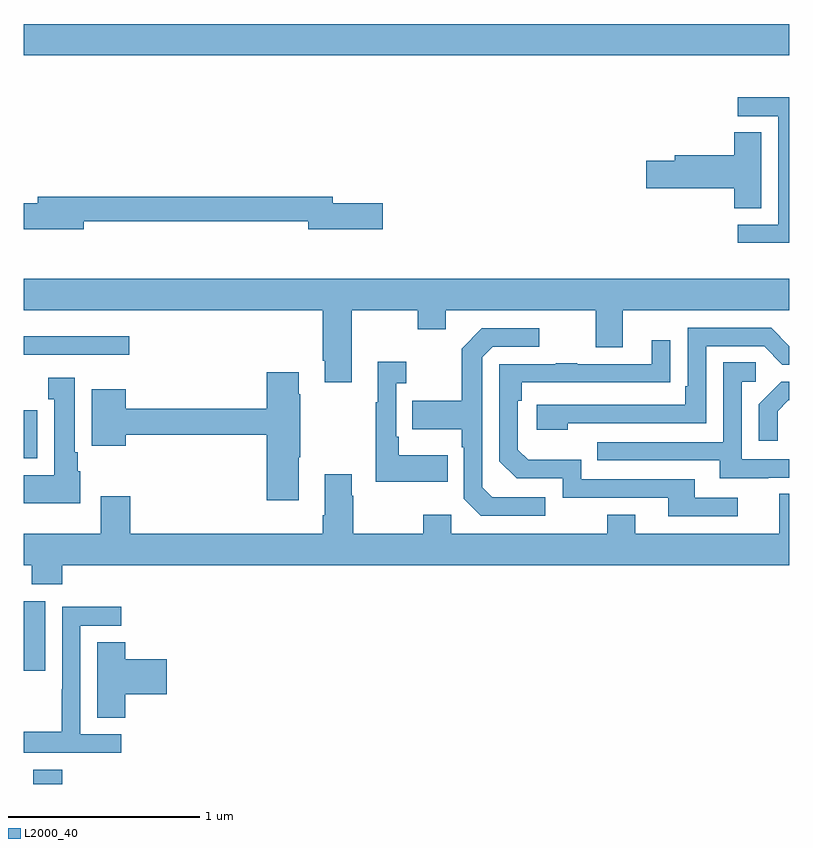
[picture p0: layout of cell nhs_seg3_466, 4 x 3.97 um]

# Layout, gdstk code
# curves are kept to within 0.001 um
import gdstk
lib = gdstk.Library(unit=1e-6, precision=1e-09)
def R(c, l, rs):  # rectangles x0, y0, x1, y1
    for r in rs: c.add(gdstk.rectangle(r[:2], r[2:], *l))
def P(c, l, *ps):  # polygons
    for p in ps: c.add(gdstk.Polygon(p, *l))
L2000_40 = (2000, 40)

nhs_seg3_466 = lib.new_cell('nhs_seg3_466')
R(nhs_seg3_466, L2000_40, [(133.049,738.4,133.202,738.475), (133,738.993,133.111,739.354), (133,740.102,133.071,740.353), (133,740.643,133.552,740.74), (133,742.208,137,742.372)])
P(nhs_seg3_466, L2000_40, [(137,741.99),(136.731,741.99),(136.731,741.891),(136.944,741.891),(136.944,741.324),(136.731,741.324),(136.731,741.228),(137,741.228)],
  [(136.855,741.806),(136.712,741.806),(136.712,741.686),(136.403,741.686),(136.403,741.656),(136.254,741.656),(136.254,741.514),(136.712,741.514),(136.712,741.409),(136.855,741.409)],
  [(133.312,741.342),(134.486,741.342),(134.486,741.299),(134.875,741.299),(134.875,741.434),(134.614,741.434),(134.614,741.47),(133.073,741.47),(133.073,741.434),(133,741.434),(133,741.299),(133.312,741.299)],
  [(134.713,740.876),(135.058,740.876),(135.058,740.777),(135.205,740.777),(135.205,740.876),(135.989,740.876),(135.989,740.682),(136.129,740.682),(136.129,740.876),(137,740.876),(137,741.04),(133,741.04),(133,740.876),(134.561,740.876),(134.561,740.611),(134.573,740.611),(134.573,740.499),(134.713,740.499)],
  [(135.842,740.286),(136.566,740.286),(136.566,740.688),(136.869,740.688),(136.965,740.592),(137,740.592),(137,740.689),(136.905,740.784),(136.47,740.784),(136.47,740.479),(136.457,740.479),(136.457,740.382),(135.681,740.382),(135.681,740.252),(135.842,740.252)],
  [(135.724,739.899),(135.447,739.899),(135.396,739.95),(135.396,740.631),(135.45,740.685),(135.694,740.685),(135.694,740.781),(135.393,740.781),(135.288,740.675),(135.288,740.403),(135.031,740.403),(135.031,740.255),(135.288,740.255),(135.288,740.159),(135.3,740.159),(135.3,739.89),(135.387,739.803),(135.724,739.803)],
  [(136.732,739.896),(136.507,739.896),(136.507,739.992),(135.912,739.992),(135.912,740.095),(135.635,740.095),(135.582,740.148),(135.582,740.402),(135.602,740.402),(135.602,740.499),(136.379,740.5),(136.379,740.719),(136.283,740.719),(136.283,740.595),(135.893,740.595),(135.893,740.6),(135.781,740.6),(135.781,740.595),(135.486,740.595),(135.486,740.088),(135.576,739.998),(135.816,739.998),(135.816,739.896),(136.367,739.896),(136.367,739.8),(136.732,739.8)],
  [(135.215,740.119),(134.959,740.119),(134.959,740.215),(134.946,740.215),(134.946,740.495),(134.998,740.495),(134.998,740.608),(134.849,740.608),(134.849,740.395),(134.838,740.395),(134.838,739.979),(135.215,739.979)],
  [(136.891,740.001),(137,740.001),(137,740.097),(136.752,740.097),(136.752,740.502),(136.825,740.502),(136.825,740.603),(136.656,740.603),(136.656,740.187),(135.997,740.187),(135.997,740.091),(136.637,740.091),(136.637,739.997),(136.891,739.997)],
  [(134.437,740.107),(134.445,740.107),(134.445,740.438),(134.437,740.438),(134.437,740.551),(134.27,740.551),(134.27,740.36),(133.534,740.36),(133.534,740.464),(133.355,740.464),(133.355,740.168),(133.534,740.168),(133.534,740.224),(134.27,740.224),(134.27,739.884),(134.437,739.884)],
  [(133.294,740.034),(133.282,740.034),(133.282,740.134),(133.267,740.134),(133.267,740.524),(133.127,740.524),(133.127,740.411),(133.16,740.411),(133.16,740.014),(133,740.014),(133,739.868),(133.294,739.868)],
  [(136.939,740.349),(136.996,740.406),(137,740.406),(137,740.502),(136.958,740.502),(136.842,740.386),(136.842,740.193),(136.939,740.193)],
  [(137,739.916),(136.949,739.916),(136.949,739.708),(136.195,739.708),(136.195,739.807),(136.048,739.807),(136.048,739.708),(135.234,739.708),(135.234,739.807),(135.088,739.807),(135.088,739.708),(134.721,739.708),(134.721,739.907),(134.713,739.907),(134.713,740.02),(134.573,740.02),(134.573,739.804),(134.561,739.804),(134.561,739.708),(133.556,739.708),(133.556,739.903),(133.403,739.903),(133.403,739.708),(133,739.708),(133,739.544),(133.042,739.544),(133.042,739.445),(133.202,739.445),(133.202,739.544),(137,739.544)],
  [(133.51,738.66),(133.296,738.66),(133.296,739.227),(133.51,739.227),(133.51,739.326),(133.2,739.326),(133.2,738.896),(133.198,738.896),(133.198,738.673),(133,738.673),(133,738.564),(133.51,738.564)],
  [(133.529,738.869),(133.747,738.869),(133.747,739.052),(133.529,739.052),(133.529,739.142),(133.385,739.142),(133.385,738.745),(133.529,738.745)])

lib.write_gds('nhs_seg3_466.gds')
